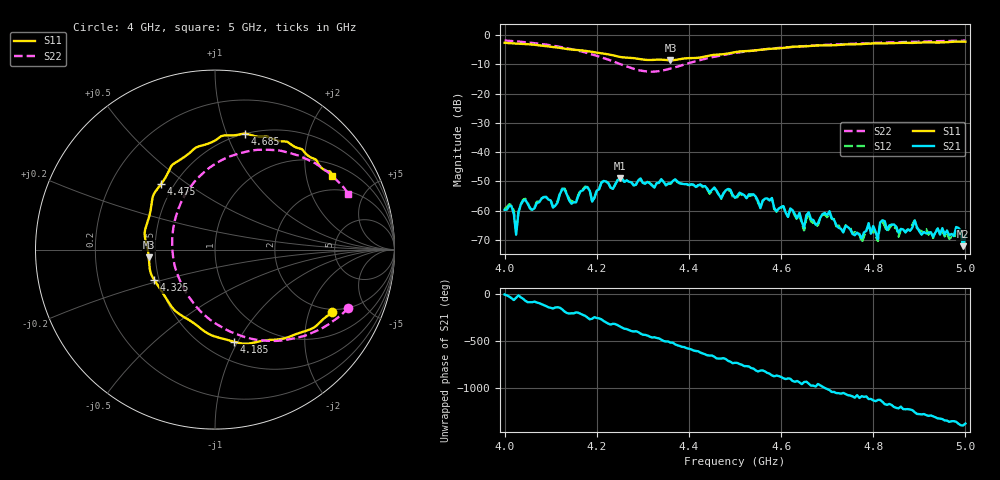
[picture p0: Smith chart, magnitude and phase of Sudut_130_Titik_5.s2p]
# Hz S RI R 50
! CMT, C1220, 16058040, 17.2.0/1
! Date: 15/08/2018 12:20:28
! Data: Format (Calibration Info)
! Freq  S11: Re/Im (F2)  S21: Re/Im (F2)  S12: Re/Im (F2)  S22: Re/Im (F2)
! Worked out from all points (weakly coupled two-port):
!   201 points, 4 GHz to 5 GHz, reference 50 ohm
!   highest |S21| = -49.02 dB at 4.25 GHz (marker M1); lowest = -72.2 dB at 4.995 GHz (marker M2)
!   lowest |S11| = -8.6 dB at 4.36 GHz (marker M3), VSWR 2.18, Z = 23 - j2.26 ohm
!   |S11| at or under -10 dB: nowhere
!   |S22| runs from -12.5 to -1.8 dB; largest |S21 - S12| = 0.00015
!   S11 on the Smith chart (normalised r, x): 4 GHz: 1.86, -2.88; 4.185 GHz: 0.68, -0.97; 4.325 GHz: 0.47, -0.19; 4.475 GHz: 0.43, +0.40; 4.685 GHz: 0.50, +1.17; 5 GHz: 1.39, +2.85
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4e9  0.6525 -0.3494  0.00103 -1.48e-05  0.00106 1.73e-05  0.7432 -0.3252
4.015e9  0.6254 -0.3696  0.000913 -0.000761  0.000977 -0.000767  0.7106 -0.357
4.025e9  0.6042 -0.3865  0.000314 -0.000225  0.000357 -0.000266  0.6868 -0.3771
4.04e9  0.5714 -0.418  0.00102 -0.00105  0.00108 -0.00108  0.6476 -0.4065
4.17e9  0.1538 -0.5234  -0.00171 0.00142  -0.00179 0.00144  0.1725 -0.4892
4.185e9  0.1058 -0.5133  -0.000108 0.00216  -7.72e-05 0.00221  0.112 -0.4677
4.25e9  -0.123 -0.4064  0.00337 0.00108  0.00336 0.00106  -0.1198 -0.2983
4.325e9  -0.3375 -0.1714  -0.000395 -0.00244  -0.000478 -0.00248  -0.2377 -0.000157
4.335e9  -0.3544 -0.1397  -0.0011 -0.00279  -0.00112 -0.00275  -0.2386 0.0418
4.36e9  -0.3689 -0.0424  -0.0027 -0.00112  -0.00265 -0.00108  -0.2286 0.1401
4.475e9  -0.3015 0.3637  0.00161 0.00116  0.00162 0.00108  -0.0283 0.4581
4.5e9  -0.2534 0.4447  0.0016 -0.000392  0.00157 -0.000373  0.0299 0.4947
4.67e9  0.1417 0.643  -0.000133 0.000676  -0.000151 0.000597  0.375 0.5487
4.685e9  0.1683 0.6468  -0.00018 0.00073  -0.000243 0.000697  0.4007 0.5426
4.775e9  0.3584 0.6049  0.000328 -7.07e-05  0.000272 -7.17e-05  0.5289 0.4948
4.79e9  0.3883 0.6025  0.000445 -0.000416  0.000416 -0.000366  0.5483 0.4866
4.81e9  0.4111 0.5951  0.000196 -0.000256  0.000207 -0.000218  0.5701 0.4726
4.82e9  0.4258 0.584  0.000203 -0.00065  0.000197 -0.000615  0.5819 0.465
4.835e9  0.454 0.5682  -4.96e-05 -0.000555  -5.32e-05 -0.000493  0.599 0.4532
4.98e9  0.6422 0.4347  0.000154 0.000501  9.14e-05 0.000427  0.7281 0.3305
4.995e9  0.6501 0.4198  0.000205 0.000135  0.000167 0.000184  0.7397 0.3155
5e9  0.6545 0.4119  0.000225 0.000304  0.000183 0.000325  0.7435 0.311
